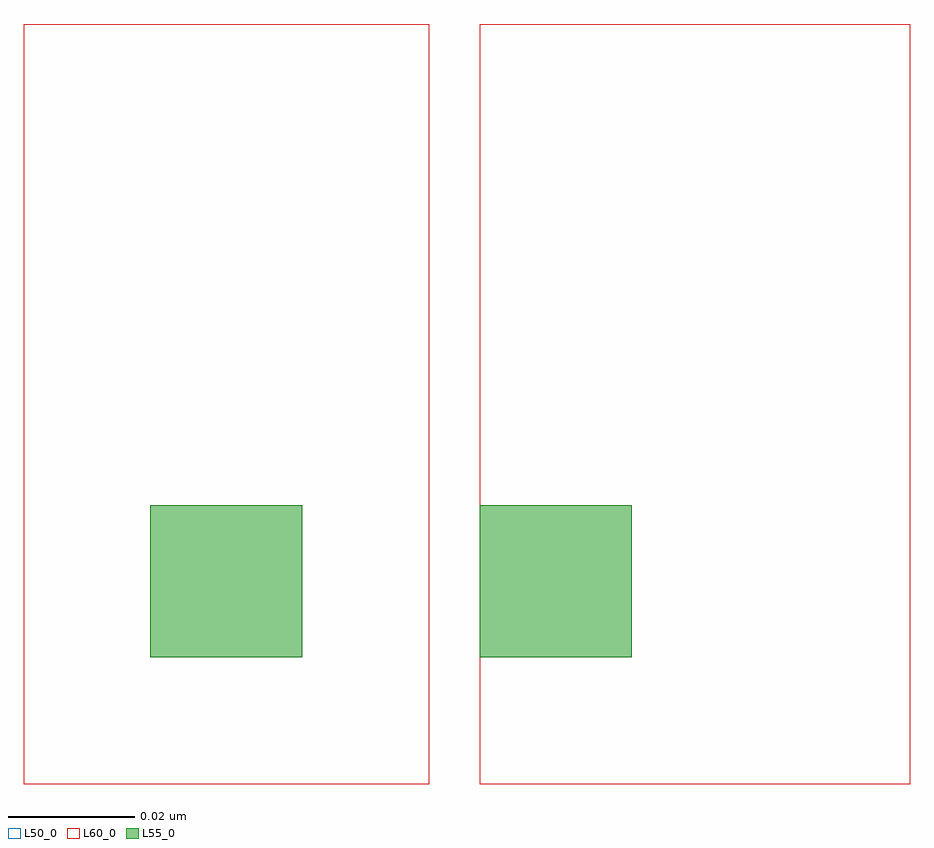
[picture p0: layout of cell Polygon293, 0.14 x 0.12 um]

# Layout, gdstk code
import gdstk
lib = gdstk.Library(unit=1e-6, precision=2.5e-10)
def R(c, l, rs):  # rectangles x0, y0, x1, y1
    for r in rs: c.add(gdstk.rectangle(r[:2], r[2:], *l))
L50_0 = (50, 0)
L55_0 = (55, 0)
L60_0 = (60, 0)

polygon293 = lib.new_cell('Polygon293')
R(polygon293, L50_0, [(-0.02,-0.02,0.044,0.1), (0.052,-0.02,0.12,0.1)])
R(polygon293, L55_0, [(0,0,0.024,0.024), (0.052,0,0.076,0.024)])
R(polygon293, L60_0, [(-0.02,-0.02,0.044,0.1), (0.052,-0.02,0.12,0.1)])

lib.write_gds('Polygon293.gds')
